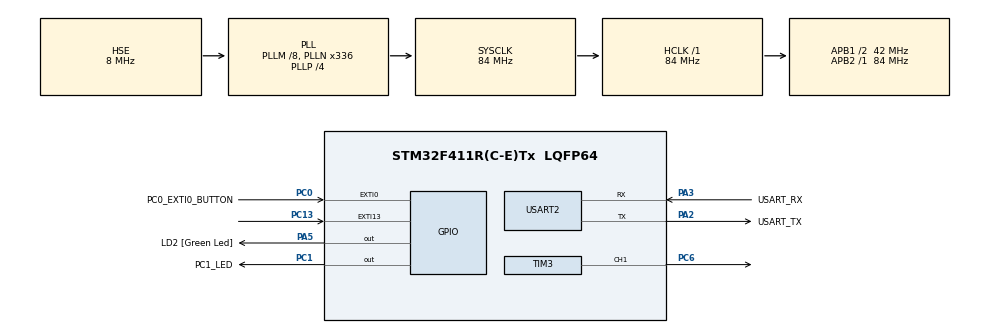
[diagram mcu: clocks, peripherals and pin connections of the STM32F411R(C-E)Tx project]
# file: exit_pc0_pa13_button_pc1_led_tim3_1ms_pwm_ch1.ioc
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Mcu.Family=STM32F4
Mcu.Name=STM32F411R(C-E)Tx
Mcu.Package=LQFP64
NVIC.EXTI0_IRQn=true\:0\:0\:false\:false\:true\:true\:true\:true
NVIC.EXTI15_10_IRQn=true\:0\:0\:false\:false\:true\:true\:true\:true
NVIC.PriorityGroup=NVIC_PRIORITYGROUP_0
NVIC.TIM3_IRQn=true\:0\:0\:false\:false\:true\:true\:true\:true
PA13.GPIO_Label=TMS
PA13.Mode=Serial_Wire
PA13.Signal=SYS_JTMS-SWDIO
PA14.GPIO_Label=TCK
PA14.Mode=Serial_Wire
PA14.Signal=SYS_JTCK-SWCLK
PA2.GPIO_Label=USART_TX
PA2.Mode=Asynchronous
PA2.Signal=USART2_TX
PA3.GPIO_Label=USART_RX
PA3.Mode=Asynchronous
PA3.Signal=USART2_RX
PA5.GPIO_Label=LD2 [Green Led]
PA5.Signal=GPIO_Output
PB3.GPIO_Label=SWO
PB3.Signal=SYS_JTDO-SWO
PC0.GPIO_Label=PC0_EXTI0_BUTTON
PC0.Signal=GPXTI0
PC1.GPIO_Label=PC1_LED
PC1.Signal=GPIO_Output
PC13-ANTI_TAMP.Signal=GPXTI13
PC14-OSC32_IN.Mode=LSE-External-Oscillator
PC14-OSC32_IN.Signal=RCC_OSC32_IN
PC15-OSC32_OUT.Mode=LSE-External-Oscillator
PC15-OSC32_OUT.Signal=RCC_OSC32_OUT
PC6.Signal=S_TIM3_CH1
PH0\ -\ OSC_IN.Mode=HSE-External-Clock-Source
PH0\ -\ OSC_IN.Signal=RCC_OSC_IN
PH1\ -\ OSC_OUT.Mode=HSE-External-Clock-Source
PH1\ -\ OSC_OUT.Signal=RCC_OSC_OUT
ProjectManager.HeapSize=0x200
ProjectManager.StackSize=0x400
ProjectManager.TargetToolchain=STM32CubeIDE
RCC.48MHZClocksFreq_Value=84000000
RCC.AHBFreq_Value=84000000
RCC.APB1CLKDivider=RCC_HCLK_DIV2
RCC.APB1Freq_Value=42000000
RCC.APB1TimFreq_Value=84000000
RCC.APB2Freq_Value=84000000
RCC.APB2TimFreq_Value=84000000
RCC.CortexFreq_Value=84000000
RCC.FLatency-AdvancedSettings=FLASH_LATENCY_2
RCC.HCLKFreq_Value=84000000
RCC.HSE_VALUE=8000000
RCC.HSI_VALUE=16000000
RCC.PLLM=8
RCC.PLLN=336
RCC.PLLP=RCC_PLLP_DIV4
RCC.PLLSourceVirtual=RCC_PLLSOURCE_HSE
RCC.SYSCLKFreq_VALUE=84000000
RCC.SYSCLKSource=RCC_SYSCLKSOURCE_PLLCLK
RCC.VCOOutputFreq_Value=336000000
SH.S_TIM3_CH1.0=TIM3_CH1,PWM Generation1 CH1
TIM3.AutoReloadPreload=TIM_AUTORELOAD_PRELOAD_ENABLE
TIM3.Channel-PWM\ Generation1\ CH1=TIM_CHANNEL_1
TIM3.Period=1000-1
TIM3.Prescaler=84-1
TIM3.Pulse-PWM\ Generation1\ CH1=500
USART2.VirtualMode=VM_ASYNC
VP_TIM3_VS_ClockSourceINT.Mode=Internal
board=NUCLEO-F411RE

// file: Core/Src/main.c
/* USER CODE BEGIN Header */
/**
  ******************************************************************************
  * @file           : main.c
  * @brief          : Main program body
  ******************************************************************************
  * @attention
  *
  * Copyright (c) 2025 STMicroelectronics.
  * All rights reserved.
  *
  * This software is licensed under terms that can be found in the LICENSE file
  * in the root directory of this software component.
  * If no LICENSE file comes with this software, it is provided AS-IS.
  *
  ******************************************************************************
  */
/* USER CODE END Header */
#include "main.h"

/* USER CODE BEGIN Includes */
#include <stdio.h>
/* USER CODE END Includes */

/* USER CODE BEGIN PD */
#ifdef __GNUC__
/* With GCC, small printf (option LD Linker->Libraries->Small printf
   set to 'Yes') calls __io_putchar() */
#define PUTCHAR_PROTOTYPE int __io_putchar(int ch)
#else
#define PUTCHAR_PROTOTYPE int fputc(int ch, FILE *f)
#endif /* __GNUC__ */
/* USER CODE END PD */

TIM_HandleTypeDef htim3;

UART_HandleTypeDef huart2;

/* USER CODE BEGIN PV */
volatile int keyNo;
volatile int time3IntFlagSec;
volatile unsigned int time3Sec;
/* USER CODE END PV */

void SystemClock_Config(void);
static void MX_GPIO_Init(void);
static void MX_USART2_UART_Init(void);
static void MX_TIM3_Init(void);

int main(void)
{

  /* USER CODE BEGIN 1 */
	int pluse = 500;
  /* USER CODE END 1 */

  /* MCU Configuration--------------------------------------------------------*/

  /* Reset of all peripherals, Initializes the Flash interface and the Systick. */
  HAL_Init();

  /* Configure the system clock */
  SystemClock_Config();

  /* Initialize all configured peripherals */
  MX_GPIO_Init();
  MX_USART2_UART_Init();
  MX_TIM3_Init();
  /* USER CODE BEGIN 2 */
  printf("%s %d %s %s %s\r\n",__FILE__,__LINE__,__FUNCTION__,__DATE__,__TIME__);
  if(HAL_TIM_Base_Start_IT(&htim3) != HAL_OK)
  {
	  Error_Handler();
  }
  if(HAL_TIM_PWM_Start(&htim3, TIM_CHANNEL_1) != HAL_OK)
  {
	  Error_Handler();
  }
  /* USER CODE END 2 */

  /* Infinite loop */
  /* USER CODE BEGIN WHILE */
  while (1)
  {
//	  HAL_GPIO_WritePin(PC1_LED_GPIO_Port,PC1_LED_Pin, GPIO_PIN_SET);
	  if(keyNo != 0)
	  {
		  HAL_GPIO_TogglePin(PC1_LED_GPIO_Port,PC1_LED_Pin);

		  if((keyNo == 1) && pluse > 0)
		  {
			  pluse -= 100;
		  }
		  else if((keyNo == 2) && pluse < 1000)
		  {
			  pluse += 100;
		  }
		  __HAL_TIM_SetCompare(&htim3, TIM_CHANNEL_1, (pluse-1)<0?0:pluse-1 );
		  printf("keyNo : %d, pluse : %d\r\n",keyNo,pluse-1);
		  keyNo = 0;

	  }
	  if(time3IntFlagSec)
	  {
		  printf("tim3Cnt : %u\r\n",time3Sec);
		  HAL_GPIO_TogglePin(PC1_LED_GPIO_Port,PC1_LED_Pin);
		  time3IntFlagSec = 0;
	  }

    /* USER CODE END WHILE */

  }
}

void SystemClock_Config(void)
{
  RCC_OscInitTypeDef RCC_OscInitStruct = {0};
  RCC_ClkInitTypeDef RCC_ClkInitStruct = {0};

  /** Configure the main internal regulator output voltage
  */
  __HAL_RCC_PWR_CLK_ENABLE();
  __HAL_PWR_VOLTAGESCALING_CONFIG(PWR_REGULATOR_VOLTAGE_SCALE1);

  /** Initializes the RCC Oscillators according to the specified parameters
  * in the RCC_OscInitTypeDef structure.
  */
  RCC_OscInitStruct.OscillatorType = RCC_OSCILLATORTYPE_HSE;
  RCC_OscInitStruct.HSEState = RCC_HSE_BYPASS;
  RCC_OscInitStruct.PLL.PLLState = RCC_PLL_ON;
  RCC_OscInitStruct.PLL.PLLSource = RCC_PLLSOURCE_HSE;
  RCC_OscInitStruct.PLL.PLLM = 8;
  RCC_OscInitStruct.PLL.PLLN = 336;
  RCC_OscInitStruct.PLL.PLLP = RCC_PLLP_DIV4;
  RCC_OscInitStruct.PLL.PLLQ = 4;
  if (HAL_RCC_OscConfig(&RCC_OscInitStruct) != HAL_OK)
  {
    Error_Handler();
  }

  /** Initializes the CPU, AHB and APB buses clocks
  */
  RCC_ClkInitStruct.ClockType = RCC_CLOCKTYPE_HCLK|RCC_CLOCKTYPE_SYSCLK
                              |RCC_CLOCKTYPE_PCLK1|RCC_CLOCKTYPE_PCLK2;
  RCC_ClkInitStruct.SYSCLKSource = RCC_SYSCLKSOURCE_PLLCLK;
  RCC_ClkInitStruct.AHBCLKDivider = RCC_SYSCLK_DIV1;
  RCC_ClkInitStruct.APB1CLKDivider = RCC_HCLK_DIV2;
  RCC_ClkInitStruct.APB2CLKDivider = RCC_HCLK_DIV1;

  if (HAL_RCC_ClockConfig(&RCC_ClkInitStruct, FLASH_LATENCY_2) != HAL_OK)
  {
    Error_Handler();
  }
}

static void MX_TIM3_Init(void)
{

  TIM_ClockConfigTypeDef sClockSourceConfig = {0};
  TIM_MasterConfigTypeDef sMasterConfig = {0};
  TIM_OC_InitTypeDef sConfigOC = {0};

  htim3.Instance = TIM3;
  htim3.Init.Prescaler = 84-1;
  htim3.Init.CounterMode = TIM_COUNTERMODE_UP;
  htim3.Init.Period = 1000-1;
  htim3.Init.ClockDivision = TIM_CLOCKDIVISION_DIV1;
  htim3.Init.AutoReloadPreload = TIM_AUTORELOAD_PRELOAD_ENABLE;
  if (HAL_TIM_Base_Init(&htim3) != HAL_OK)
  {
    Error_Handler();
  }
  sClockSourceConfig.ClockSource = TIM_CLOCKSOURCE_INTERNAL;
  if (HAL_TIM_ConfigClockSource(&htim3, &sClockSourceConfig) != HAL_OK)
  {
    Error_Handler();
  }
  if (HAL_TIM_PWM_Init(&htim3) != HAL_OK)
  {
    Error_Handler();
  }
  sMasterConfig.MasterOutputTrigger = TIM_TRGO_RESET;
  sMasterConfig.MasterSlaveMode = TIM_MASTERSLAVEMODE_DISABLE;
  if (HAL_TIMEx_MasterConfigSynchronization(&htim3, &sMasterConfig) != HAL_OK)
  {
    Error_Handler();
  }
  sConfigOC.OCMode = TIM_OCMODE_PWM1;
  sConfigOC.Pulse = 500;
  sConfigOC.OCPolarity = TIM_OCPOLARITY_HIGH;
  sConfigOC.OCFastMode = TIM_OCFAST_DISABLE;
  if (HAL_TIM_PWM_ConfigChannel(&htim3, &sConfigOC, TIM_CHANNEL_1) != HAL_OK)
  {
    Error_Handler();
  }
  HAL_TIM_MspPostInit(&htim3);

}

static void MX_USART2_UART_Init(void)
{

  huart2.Instance = USART2;
  huart2.Init.BaudRate = 115200;
  huart2.Init.WordLength = UART_WORDLENGTH_8B;
  huart2.Init.StopBits = UART_STOPBITS_1;
  huart2.Init.Parity = UART_PARITY_NONE;
  huart2.Init.Mode = UART_MODE_TX_RX;
  huart2.Init.HwFlowCtl = UART_HWCONTROL_NONE;
  huart2.Init.OverSampling = UART_OVERSAMPLING_16;
  if (HAL_UART_Init(&huart2) != HAL_OK)
  {
    Error_Handler();
  }

}

static void MX_GPIO_Init(void)
{
  GPIO_InitTypeDef GPIO_InitStruct = {0};

  /* GPIO Ports Clock Enable */
  __HAL_RCC_GPIOC_CLK_ENABLE();
  __HAL_RCC_GPIOH_CLK_ENABLE();
  __HAL_RCC_GPIOA_CLK_ENABLE();
  __HAL_RCC_GPIOB_CLK_ENABLE();

  /*Configure GPIO pin Output Level */
  HAL_GPIO_WritePin(PC1_LED_GPIO_Port, PC1_LED_Pin, GPIO_PIN_RESET);

  /*Configure GPIO pin Output Level */
  HAL_GPIO_WritePin(LD2_GPIO_Port, LD2_Pin, GPIO_PIN_RESET);

  /*Configure GPIO pins : PC13 PC0_EXTI0_BUTTON_Pin */
  GPIO_InitStruct.Pin = GPIO_PIN_13|PC0_EXTI0_BUTTON_Pin;
  GPIO_InitStruct.Mode = GPIO_MODE_IT_RISING;
  GPIO_InitStruct.Pull = GPIO_NOPULL;
  HAL_GPIO_Init(GPIOC, &GPIO_InitStruct);

  /*Configure GPIO pin : PC1_LED_Pin */
  GPIO_InitStruct.Pin = PC1_LED_Pin;
  GPIO_InitStruct.Mode = GPIO_MODE_OUTPUT_PP;
  GPIO_InitStruct.Pull = GPIO_NOPULL;
  GPIO_InitStruct.Speed = GPIO_SPEED_FREQ_LOW;
  HAL_GPIO_Init(PC1_LED_GPIO_Port, &GPIO_InitStruct);

  /*Configure GPIO pin : LD2_Pin */
  GPIO_InitStruct.Pin = LD2_Pin;
  GPIO_InitStruct.Mode = GPIO_MODE_OUTPUT_PP;
  GPIO_InitStruct.Pull = GPIO_NOPULL;
  GPIO_InitStruct.Speed = GPIO_SPEED_FREQ_LOW;
  HAL_GPIO_Init(LD2_GPIO_Port, &GPIO_InitStruct);

  /* EXTI interrupt init*/
  HAL_NVIC_SetPriority(EXTI0_IRQn, 0, 0);
  HAL_NVIC_EnableIRQ(EXTI0_IRQn);

  HAL_NVIC_SetPriority(EXTI15_10_IRQn, 0, 0);
  HAL_NVIC_EnableIRQ(EXTI15_10_IRQn);

}

/* USER CODE BEGIN 4 */
/**
  * @brief  Retargets the C library printf function to the USART.
  * @param  None
  * @retval None
  */
PUTCHAR_PROTOTYPE
{
  /* Place your implementation of fputc here */
  /* e.g. write a character to the USART6 and Loop until the end of transmission */
  HAL_UART_Transmit(&huart2, (uint8_t *)&ch, 1, 0xFFFF);

  return ch;
}
void HAL_GPIO_EXTI_Callback(uint16_t GPIO_Pin)
{
//	printf("EXTI %d\r\n",GPIO_Pin);
	switch(GPIO_Pin)
	{
		case GPIO_PIN_0:
			keyNo = 1;
			break;
		case GPIO_PIN_13:
			keyNo = 2;
			break;
	}
}
void HAL_TIM_PeriodElapsedCallback(TIM_HandleTypeDef * htim)
{
	static int tim3Cnt = 0;
	tim3Cnt++;
	if(tim3Cnt == 1000)	//1ms * 1000 = 1Sec
	{
		time3IntFlagSec = 1;
		time3Sec++;
		tim3Cnt = 0;
	}
}
/* USER CODE END 4 */

void Error_Handler(void)
{
  /* USER CODE BEGIN Error_Handler_Debug */
  /* User can add his own implementation to report the HAL error return state */
  __disable_irq();
  while (1)
  {
	  printf("%s\r\n",__FUNCTION__);
  }
  /* USER CODE END Error_Handler_Debug */
}
